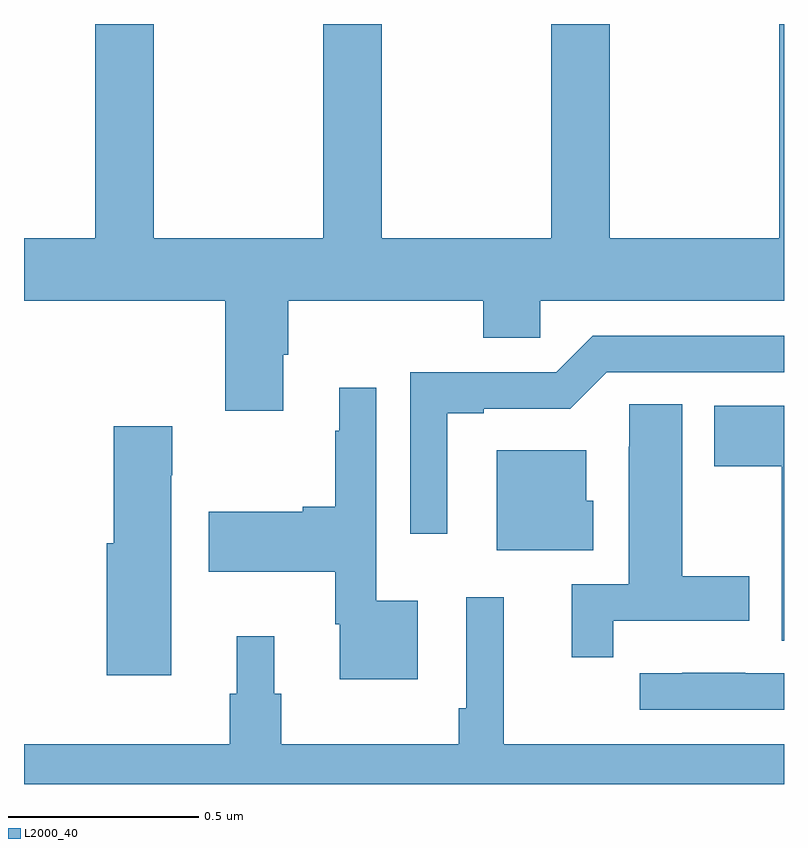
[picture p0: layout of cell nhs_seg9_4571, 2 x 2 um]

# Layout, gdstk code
import gdstk
lib = gdstk.Library(unit=1e-6, precision=1e-09)
def P(c, l, *ps):  # polygons
    for p in ps: c.add(gdstk.Polygon(p, *l))
L2000_40 = (2000, 40)

nhs_seg9_4571 = lib.new_cell('nhs_seg9_4571')
P(nhs_seg9_4571, L2000_40, [(168.682,1177.63),(168.695,1177.63),(168.695,1177.772),(169.208,1177.772),(169.208,1177.674),(169.359,1177.674),(169.359,1177.772),(170,1177.772),(170,1178.5),(169.987,1178.5),(169.987,1177.936),(169.542,1177.936),(169.542,1178.5),(169.387,1178.5),(169.387,1177.936),(168.942,1177.936),(168.942,1178.5),(168.787,1178.5),(168.787,1177.936),(168.342,1177.936),(168.342,1178.5),(168.187,1178.5),(168.187,1177.936),(168,1177.936),(168,1177.772),(168.53,1177.772),(168.53,1177.482),(168.682,1177.482)],
  [(169.114,1177.476),(169.21,1177.476),(169.21,1177.488),(169.437,1177.488),(169.533,1177.584),(170,1177.584),(170,1177.68),(169.497,1177.68),(169.401,1177.584),(169.017,1177.584),(169.017,1177.158),(169.114,1177.158)],
  [(169.036,1176.982),(168.927,1176.982),(168.927,1177.543),(168.83,1177.543),(168.83,1177.43),(168.819,1177.43),(168.819,1177.229),(168.734,1177.229),(168.734,1177.216),(168.486,1177.216),(168.486,1177.058),(168.819,1177.058),(168.819,1176.921),(168.831,1176.921),(168.831,1176.776),(169.036,1176.776)],
  [(169.55,1176.93),(169.909,1176.93),(169.909,1177.047),(169.732,1177.047),(169.732,1177.499),(169.593,1177.499),(169.593,1177.388),(169.592,1177.388),(169.592,1177.026),(169.442,1177.026),(169.442,1176.834),(169.55,1176.834)],
  [(170,1177.495),(169.817,1177.495),(169.817,1177.336),(169.994,1177.336),(169.994,1176.877),(170,1176.877)],
  [(168.388,1177.312),(168.39,1177.312),(168.39,1177.441),(168.236,1177.441),(168.236,1177.134),(168.218,1177.134),(168.218,1176.786),(168.388,1176.786)],
  [(169.498,1177.245),(169.48,1177.245),(169.48,1177.378),(169.244,1177.378),(169.244,1177.115),(169.498,1177.115)],
  [(170,1176.604),(169.262,1176.604),(169.262,1176.991),(169.164,1176.991),(169.164,1176.7),(169.144,1176.7),(169.144,1176.604),(168.677,1176.604),(168.677,1176.738),(168.658,1176.738),(168.658,1176.889),(168.56,1176.889),(168.56,1176.738),(168.541,1176.738),(168.541,1176.604),(168,1176.604),(168,1176.5),(170,1176.5)],
  [(170,1176.792),(169.898,1176.792),(169.898,1176.793),(169.732,1176.793),(169.732,1176.792),(169.62,1176.792),(169.62,1176.696),(170,1176.696)])

lib.write_gds('nhs_seg9_4571.gds')
